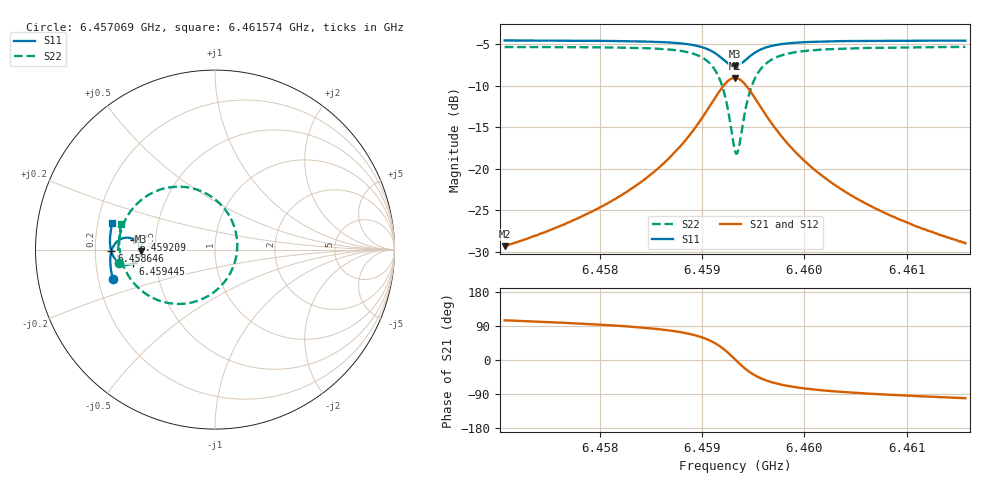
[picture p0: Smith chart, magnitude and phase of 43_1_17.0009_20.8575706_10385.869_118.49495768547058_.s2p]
#  HZ  S  RI  R  50.00
! Rohde & Schwarz Vector Network Analyzer
! Rohde-Schwarz,ZNB20-2Port,1311601062101988,3.16
! Created: UTC 3/20/2024, 10:53:58 PM
! freq[Hz]  re:S11  im:S11  re:S21  im:S21  re:S12  im:S12  re:S22  im:S22
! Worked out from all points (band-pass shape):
!   401 points, 6.457069 GHz to 6.461574 GHz, reference 50 ohm
!   highest |S21| = -9.05 dB at 6.459322 GHz (marker M1); lowest = -29.3 dB at 6.457069 GHz (marker M2)
!   |S21| within 3 dB of the highest: 6.459096 GHz to 6.459546 GHz (450.5 kHz wide, 0.00697 % of centre)
!   lowest |S11| = -7.7 dB at 6.459322 GHz (marker M3), VSWR 2.41, Z = 20.7 - j0.48 ohm
!   |S11| at or under -10 dB: nowhere
!   |S22| runs from -18.2 to -5.3 dB; largest |S21 - S12| = 0.014
!   S11 on the Smith chart (normalised r, x): 6.457069 GHz: 0.26, -0.13; 6.458646 GHz: 0.27, -0.01; 6.459209 GHz: 0.38, +0.05; 6.459445 GHz: 0.37, -0.07; 6.461574 GHz: 0.26, +0.12
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6.457069e9  -0.568 -0.1665  -0.00867 0.0332  -0.00695 0.0332  -0.535 -0.0757
6.4578236e9  -0.5812 -0.1  -0.00522 0.0515  -0.00266 0.0508  -0.5388 0.014
6.4582403e9  -0.5836 -0.0578  0.000967 0.0713  0.00433 0.0698  -0.5295 0.0813
6.4585782e9  -0.5794 -0.0168  0.0154 0.1006  0.0195 0.0979  -0.5027 0.1593
6.4586458e9  -0.577 -0.00721  0.0209 0.1091  0.025 0.1059  -0.4924 0.1794
6.4588373e9  -0.564 0.0231  0.0483 0.1406  0.0523 0.1355  -0.441 0.2488
6.4589837e9  -0.5406 0.0494  0.0949 0.1714  0.0979 0.1646  -0.3548 0.3133
6.4591188e9  -0.4956 0.0666  0.1841 0.1875  0.1849 0.1801  -0.1918 0.3504
6.4592089e9  -0.4501 0.0554  0.2756 0.1545  0.2759 0.1488  -0.0225 0.2965
6.4592765e9  -0.4206 0.0222  0.3366 0.0803  0.3389 0.0751  0.0935 0.1621
6.4593216e9  -0.4139 -0.00959  0.3524 0.0108  0.3562 0.00373  0.1242 0.0317
6.4593554e9  -0.4182 -0.0338  0.3457 -0.0426  0.3498 -0.0521  0.1107 -0.0696
6.4594004e9  -0.4344 -0.0605  0.3158 -0.1032  0.318 -0.1155  0.0498 -0.1837
6.4594455e9  -0.457 -0.0769  0.2725 -0.1444  0.2717 -0.158  -0.038 -0.2583
6.4595356e9  -0.5013 -0.0839  0.1861 -0.175  0.1797 -0.1868  -0.2103 -0.3026
6.4596031e9  -0.5259 -0.0764  0.137 -0.1725  0.1288 -0.1815  -0.3048 -0.2864
6.459682e9  -0.5458 -0.0633  0.0968 -0.16  0.0882 -0.1664  -0.3796 -0.2505
6.4598396e9  -0.5676 -0.0354  0.0516 -0.1314  0.0436 -0.1341  -0.4603 -0.1767
6.4600762e9  -0.5805 1.32e-05  0.0222 -0.0991  0.0163 -0.0996  -0.5083 -0.0932
6.4604253e9  -0.5854 0.0419  0.00579 -0.071  0.00167 -0.0705  -0.5299 -0.0114
6.4608308e9  -0.5835 0.0829  -0.00175 -0.0527  -0.00441 -0.052  -0.5334 0.0545
6.4615741e9  -0.5717 0.1491  -0.00666 -0.0351  -0.00827 -0.0343  -0.5221 0.1435
